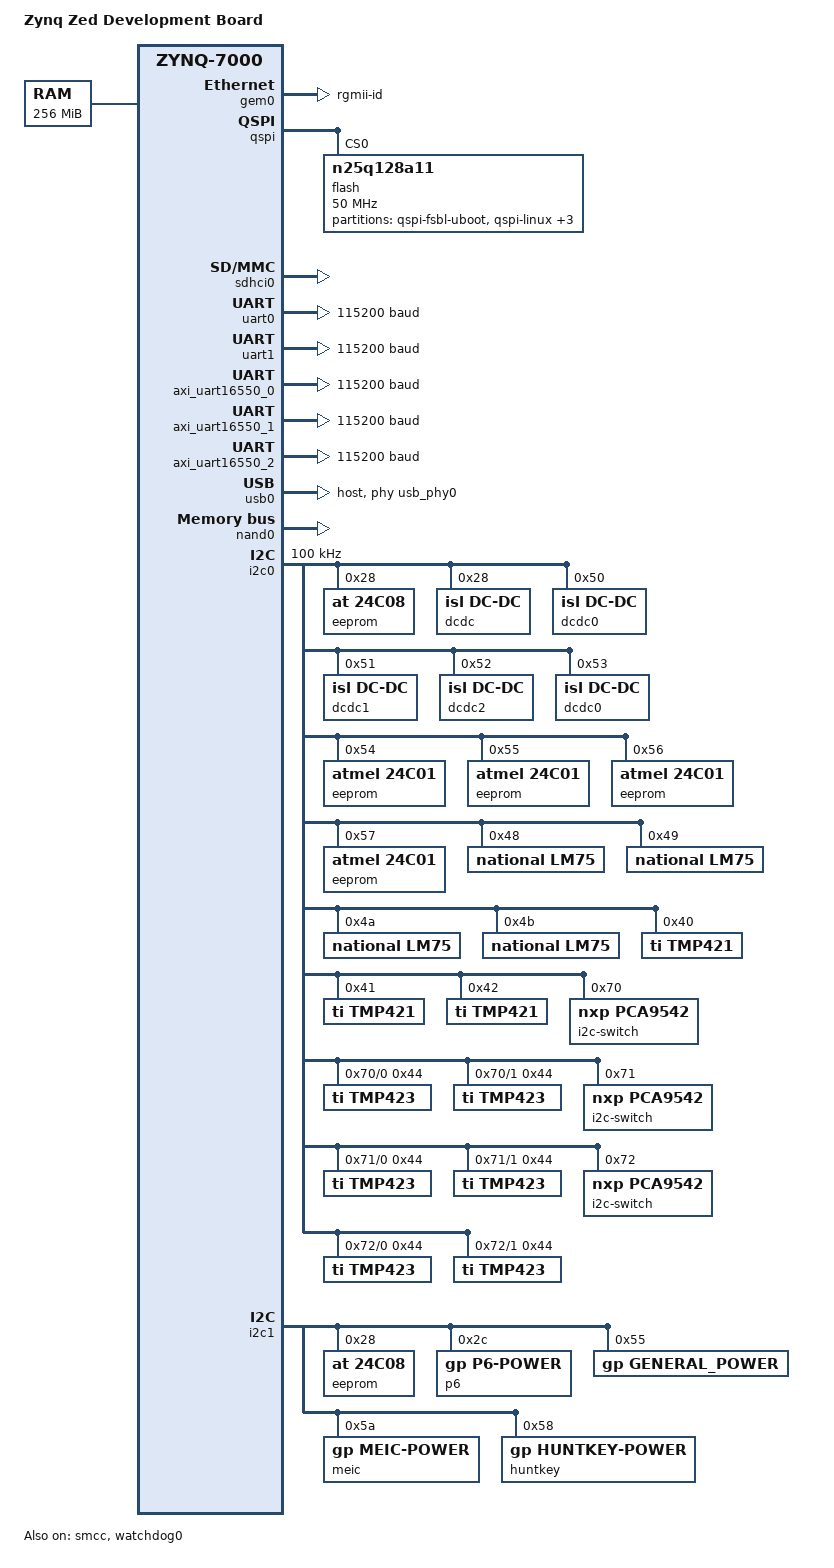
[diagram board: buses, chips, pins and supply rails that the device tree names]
/*
 *  Copyright (C) 2011 - 2014 Xilinx
 *  Copyright (C) 2012 National Instruments Corp.
 *
 * This software is licensed under the terms of the GNU General Public
 * License version 2, as published by the Free Software Foundation, and
 * may be copied, distributed, and modified under those terms.
 *
 * This program is distributed in the hope that it will be useful,
 * but WITHOUT ANY WARRANTY; without even the implied warranty of
 * MERCHANTABILITY or FITNESS FOR A PARTICULAR PURPOSE.  See the
 * GNU General Public License for more details.
 */
/dts-v1/;
#include "pl.dtsi"
#include "zynq-7000.dtsi"

/ {
	model = "Zynq Zed Development Board";
	compatible = "xlnx,zynq-zed", "xlnx,zynq-7000";

	aliases {
		ethernet0 = &gem0;
		serial0 = &uart1;
		serial1 = &uart0;
		serial2 = &axi_uart16550_0;
		serial3 = &axi_uart16550_1;
		serial4 = &axi_uart16550_2;
		spi0 = &qspi;
		mmc0 = &sdhci0;
	};

	memory {
		device_type = "memory";
		reg = <0x0 0x10000000>;
	};

	chosen {
		/*bootargs = "noinitrd root=/dev/mmcblk0p2 rw earlyprintk rootfstype=ext3 rootwait devtmpfs.mount=1";*/
		bootargs = "noinitrd ubi.mtd=7 root=ubi0:rootfs ro earlyprintk rootfstype=ubifs rootwait devtmpfs.mount=1 isolcpus=1";
		stdout-path = "serial0:115200n8";
	};

	usb_phy0: phy0 {
		compatible = "ulpi-phy";
		#phy-cells = <0>;
		reg = <0xe0002000 0x1000>;
		view-port = <0x0170>;
		drv-vbus;
	};
};

&clkc {
	fclk-enable = <0x1>;
	ps-clk-frequency = <33333333>;
};

&gem0 {
	local-mac-address = [00 0a 35 00 00 00];
	phy-mode = "rgmii-id";
	status = "okay";
	xlnx,ptp-enet-clock = <0x69f6bcb>;
};

&gpio0 {
	emio-gpio-width = <6>;
	gpio-mask-high = <0x0>;
	gpio-mask-low = <0x5600>;
};

&qspi {
	status = "okay";
	is-dual = <0>;
	num-cs = <1>;
	flash@0 {
		compatible = "n25q128a11";
		reg = <0x0>;
		spi-tx-bus-width = <1>;
		spi-rx-bus-width = <4>;
		spi-max-frequency = <50000000>;
		#address-cells = <1>;
		#size-cells = <1>;
		partition@qspi-fsbl-uboot {
			label = "qspi-fsbl-uboot";
			reg = <0x0 0x100000>;
		};
		partition@qspi-linux {
			label = "qspi-linux";
			reg = <0x100000 0x500000>;
		};
		partition@qspi-device-tree {
			label = "qspi-device-tree";
			reg = <0x600000 0x20000>;
		};
		partition@qspi-rootfs {
			label = "qspi-rootfs";
			reg = <0x620000 0x5E0000>;
		};
		partition@qspi-bitstream {
			label = "qspi-bitstream";
			reg = <0xC00000 0x400000>;
		};
	};
};

&sdhci0 {
	status = "okay";
};

&uart0 {
	current-speed = <115200>;
	device_type = "serial";
	status = "okay";
};

&uart1 {
	current-speed = <115200>;
	device_type = "serial";
	status = "okay";
};

&axi_uart16550_0 {
	current-speed = <115200>;
	device_type = "serial";
	status = "okay";
};

&axi_uart16550_1 {
	current-speed = <115200>;
	device_type = "serial";
	status = "okay";
};

&axi_uart16550_2 {
	current-speed = <115200>;
	device_type = "serial";
	status = "okay";
};

&usb0 {
	status = "okay";
	dr_mode = "host";
	usb-phy = <&usb_phy0>;
};

&smcc {
	status = "okay";
};

&nand0 {
	status = "okay";
};

&i2c0 {
    status = "okay";
    clock-frequency = <100000>;

    eeprom@28 {
        compatible = "at,24c08";
        reg = <0x28>;
    };

    dcdc@28 {
        compatible = "isl,dc-dc";
        reg = <0x28>;
        io0 = <934>;	//enable
        io1 = <939>;
        io2 = <937>;
        sel0 = <960>;
        sel1 = <962>;
        sel2 = <964>;

        s9_io0 = <941>;
        s9_io1 = <940>;
        s9_io2 = <939>;
        s9_sel0 = <961>;
        s9_sel1 = <963>;
        s9_sel2 = <965>;
    };

    dcdc0@50 {
        compatible = "isl,dc-dc","atmel,24c01";
        reg = <0x50>;
        pagesize = <8>;
        slot = <0>;//one by one, max = 3
        io = <934>;
    };

    dcdc1@51 {
        compatible = "isl,dc-dc","atmel,24c01";
        reg = <0x51>;
        pagesize = <8>;
        slot = <1>;
        io = <939>;

        s9_slot = <2>;
        s9_io = <939>;
    };

    dcdc2@52 {
        compatible = "isl,dc-dc","atmel,24c01";
        reg = <0x52>;
        pagesize = <8>;
        slot = <2>;
        io = <937>;

        s9_slot = <1>;
        s9_io = <940>;
    };

    dcdc0@53 {
        compatible = "isl,dc-dc","atmel,24c01";
        reg = <0x53>;
        pagesize = <8>;
        s9_slot = <0>;
        s9_io = <941>;
    };

    eeprom@54 {
        compatible = "atmel,24c01";
        reg = <0x54>;
        pagesize = <8>;
        slot = <0>;
    };
    
    eeprom@55 {
        compatible = "atmel,24c01";
        reg = <0x55>;
        pagesize = <8>;
        slot = <1>;
        s9_slot = <2>;
    };

    eeprom@56 {
        compatible = "atmel,24c01";
        reg = <0x56>;
        pagesize = <8>;
        slot = <2>;
        s9_slot = <1>;
    };

    eeprom@57 {
        compatible = "atmel,24c01";
        reg = <0x57>;
        pagesize = <8>;
        s9_slot = <0>;
    };

    lm75@48 {
        compatible = "national,lm75";
        reg = <0x48>;
    };

    lm75@49 {
        compatible = "national,lm75";
        reg = <0x49>;
    };

    lm75@4a {
        compatible = "national,lm75";
        reg = <0x4a>;
    };

    lm75@4b {
        compatible = "national,lm75";
        reg = <0x4b>;
    };

    tmp421@40 {
        compatible = "ti,tmp421";
        reg = <0x40>;
    };
    tmp421@41 {
        compatible = "ti,tmp421";
        reg = <0x41>;
    };
    tmp421@42 {
        compatible = "ti,tmp421";
        reg = <0x42>;
    };

    i2c-switch@70 {
        compatible = "nxp,pca9542";
        #address-cells = <1>;
        #size-cells = <0>;
        reg = <0x70>;
        i2c-mux-idle-disconnect;

        i2c@0 {
            #address-cells = <1>;
            #size-cells = <0>;
            reg = <0>;
            tmp423@44 {
                compatible = "ti,tmp423";
                reg = <0x44>;
            };
        };

        i2c@1 {
            #address-cells = <1>;
            #size-cells = <0>;
            reg = <1>;

            tmp423@44 {
                compatible = "ti,tmp423";
                reg = <0x44>;
            };
        };
    };

    i2c-switch@71 {
        compatible = "nxp,pca9542";
        #address-cells = <1>;
        #size-cells = <0>;
        reg = <0x71>;
        i2c-mux-idle-disconnect;

        i2c@0 {
            #address-cells = <1>;
            #size-cells = <0>;
            reg = <0>;
            tmp423@44 {
                compatible = "ti,tmp423";
                reg = <0x44>;
            };
        };

        i2c@1 {
            #address-cells = <1>;
            #size-cells = <0>;
            reg = <1>;

            tmp423@44 {
                compatible = "ti,tmp423";
                reg = <0x44>;
            };
        };
    };

    i2c-switch@72 {
        compatible = "nxp,pca9542";
        #address-cells = <1>;
        #size-cells = <0>;
        reg = <0x72>;
        i2c-mux-idle-disconnect;

        i2c@0 {
            #address-cells = <1>;
            #size-cells = <0>;
            reg = <0>;
            tmp423@44 {
                compatible = "ti,tmp423";
                reg = <0x44>;
            };
        };

        i2c@1 {
            #address-cells = <1>;
            #size-cells = <0>;
            reg = <1>;

            tmp423@44 {
                compatible = "ti,tmp423";
                reg = <0x44>;
            };
        };
    };
};

&i2c1 {
    status = "okay";
    eeprom@28 {
        compatible = "at,24c08";
        reg = <0x28>;
    };

    p6@2c {
        compatible = "gp,p6-power";
        reg = <0x2c>;
    };

    general_power@55 {
        compatible = "gp,general_power";
        reg = <0x55>;
    };
    meic@5a {
        compatible = "gp,meic-power";
        reg = <0x5a>;
    };
    huntkey@58 {
        compatible = "gp,huntkey-power";
        reg = <0x58>;
    };
};

&watchdog0 {
    status = "okay";
    reset-on-timeout;
};
